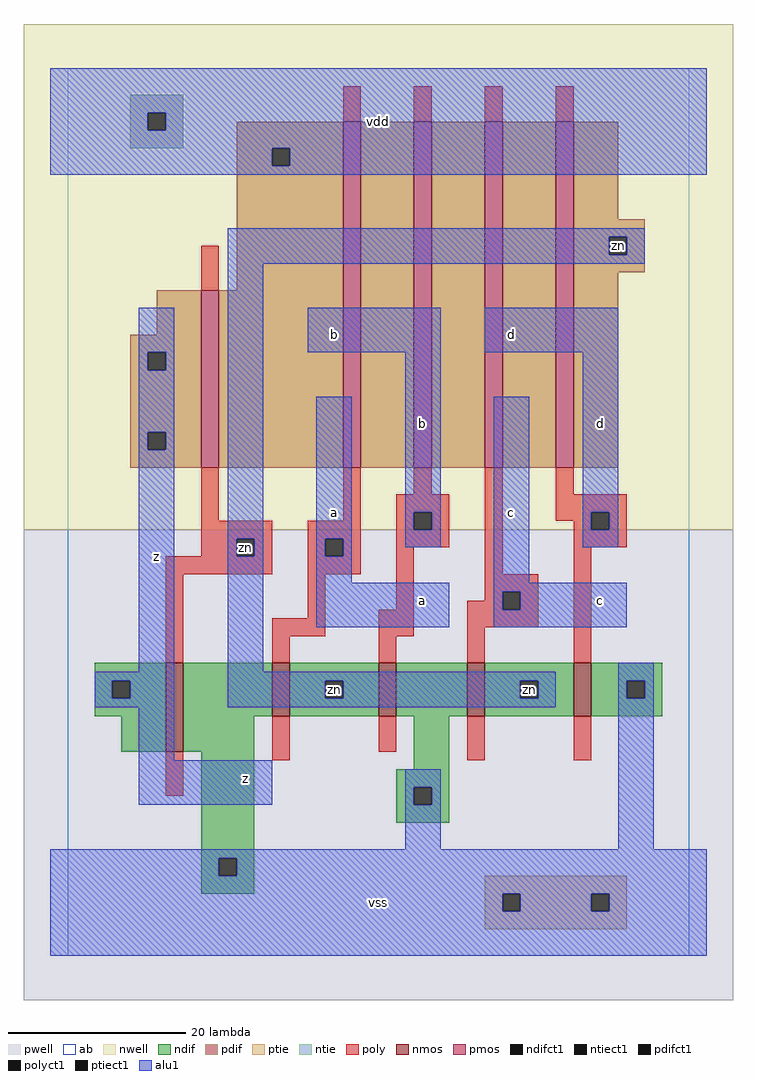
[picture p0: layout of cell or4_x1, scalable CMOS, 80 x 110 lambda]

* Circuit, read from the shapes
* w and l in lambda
.subckt or4_x1 a b c d vdd vss z zn
M1 vss zn z vss nfet w=10 l=2
M2 zn a vss vss nfet w=6 l=2
M3 vss b zn vss nfet w=6 l=2
M4 zn c vss vss nfet w=6 l=2
M5 vss d zn vss nfet w=6 l=2
M6 vdd zn z vdd pfet w=20 l=2
M7 n1 a vdd vdd pfet w=39 l=2
M8 n2 b n1 vdd pfet w=39 l=2
M9 n3 c n2 vdd pfet w=39 l=2
M10 zn d n3 vdd pfet w=39 l=2
.ends

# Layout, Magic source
magic
tech scmos
<< ab >>
rect 0 0 70 100
<< nwell >>
rect -5 48 75 105
<< pwell >>
rect -5 -5 75 48
<< poly >>
rect 31 94 33 98
rect 39 94 41 98
rect 47 94 49 98
rect 55 94 57 98
rect 15 75 17 80
rect 15 49 17 55
rect 31 49 33 55
rect 39 52 41 55
rect 15 47 23 49
rect 15 45 19 47
rect 21 45 23 47
rect 11 43 23 45
rect 27 47 33 49
rect 27 45 29 47
rect 31 45 33 47
rect 27 43 33 45
rect 37 50 43 52
rect 37 48 39 50
rect 41 48 43 50
rect 37 46 43 48
rect 11 33 13 43
rect 27 38 29 43
rect 37 39 39 46
rect 47 43 49 55
rect 55 52 57 55
rect 55 50 63 52
rect 55 49 59 50
rect 57 48 59 49
rect 61 48 63 50
rect 57 46 63 48
rect 47 41 53 43
rect 47 40 49 41
rect 23 36 29 38
rect 35 36 39 39
rect 45 39 49 40
rect 51 39 53 41
rect 45 37 53 39
rect 23 33 25 36
rect 35 33 37 36
rect 45 33 47 37
rect 57 33 59 46
rect 11 18 13 23
rect 23 22 25 27
rect 35 23 37 27
rect 45 22 47 27
rect 57 22 59 27
<< ndif >>
rect 3 31 11 33
rect 3 29 5 31
rect 7 29 11 31
rect 3 27 11 29
rect 6 23 11 27
rect 13 27 23 33
rect 25 31 35 33
rect 25 29 29 31
rect 31 29 35 31
rect 25 27 35 29
rect 37 27 45 33
rect 47 31 57 33
rect 47 29 51 31
rect 53 29 57 31
rect 47 27 57 29
rect 59 31 67 33
rect 59 29 63 31
rect 65 29 67 31
rect 59 27 67 29
rect 13 23 21 27
rect 15 11 21 23
rect 39 21 43 27
rect 37 19 43 21
rect 37 17 39 19
rect 41 17 43 19
rect 37 15 43 17
rect 15 9 17 11
rect 19 9 21 11
rect 15 7 21 9
<< pdif >>
rect 19 91 31 94
rect 19 89 23 91
rect 25 89 31 91
rect 19 75 31 89
rect 10 70 15 75
rect 7 68 15 70
rect 7 66 9 68
rect 11 66 15 68
rect 7 59 15 66
rect 7 57 9 59
rect 11 57 15 59
rect 7 55 15 57
rect 17 55 31 75
rect 33 55 39 94
rect 41 55 47 94
rect 49 55 55 94
rect 57 83 62 94
rect 57 81 65 83
rect 57 79 61 81
rect 63 79 65 81
rect 57 77 65 79
rect 57 55 62 77
<< alu1 >>
rect -2 95 72 100
rect -2 93 9 95
rect 11 93 72 95
rect -2 91 72 93
rect -2 89 23 91
rect 25 89 72 91
rect -2 88 72 89
rect 18 81 65 82
rect 18 79 61 81
rect 63 79 65 81
rect 18 78 65 79
rect 8 68 12 73
rect 8 66 9 68
rect 11 66 12 68
rect 8 59 12 66
rect 8 57 9 59
rect 11 57 12 59
rect 8 32 12 57
rect 3 31 12 32
rect 3 29 5 31
rect 7 29 12 31
rect 3 28 12 29
rect 18 47 22 78
rect 27 68 42 73
rect 47 68 62 73
rect 18 45 19 47
rect 21 45 22 47
rect 18 32 22 45
rect 28 47 32 63
rect 28 45 29 47
rect 31 45 32 47
rect 38 50 42 68
rect 38 48 39 50
rect 41 48 42 50
rect 38 46 42 48
rect 28 42 32 45
rect 48 42 52 63
rect 58 50 62 68
rect 58 48 59 50
rect 61 48 62 50
rect 58 46 62 48
rect 28 37 43 42
rect 48 41 63 42
rect 48 39 49 41
rect 51 39 63 41
rect 48 37 63 39
rect 18 31 55 32
rect 18 29 29 31
rect 31 29 51 31
rect 53 29 55 31
rect 18 28 55 29
rect 62 31 66 33
rect 62 29 63 31
rect 65 29 66 31
rect 8 22 12 28
rect 8 17 23 22
rect 38 19 42 21
rect 38 17 39 19
rect 41 17 42 19
rect 38 12 42 17
rect 62 12 66 29
rect -2 11 72 12
rect -2 9 17 11
rect 19 9 72 11
rect -2 7 72 9
rect -2 5 49 7
rect 51 5 59 7
rect 61 5 72 7
rect -2 0 72 5
<< ptie >>
rect 47 7 63 9
rect 47 5 49 7
rect 51 5 59 7
rect 61 5 63 7
rect 47 3 63 5
<< ntie >>
rect 7 95 13 97
rect 7 93 9 95
rect 11 93 13 95
rect 7 91 13 93
<< nmos >>
rect 11 23 13 33
rect 23 27 25 33
rect 35 27 37 33
rect 45 27 47 33
rect 57 27 59 33
<< pmos >>
rect 15 55 17 75
rect 31 55 33 94
rect 39 55 41 94
rect 47 55 49 94
rect 55 55 57 94
<< polyct1 >>
rect 19 45 21 47
rect 29 45 31 47
rect 39 48 41 50
rect 59 48 61 50
rect 49 39 51 41
<< ndifct1 >>
rect 5 29 7 31
rect 29 29 31 31
rect 51 29 53 31
rect 63 29 65 31
rect 39 17 41 19
rect 17 9 19 11
<< ntiect1 >>
rect 9 93 11 95
<< ptiect1 >>
rect 49 5 51 7
rect 59 5 61 7
<< pdifct1 >>
rect 23 89 25 91
rect 9 66 11 68
rect 9 57 11 59
rect 61 79 63 81
<< labels >>
rlabel polyct1 20 46 20 46 6 zn
rlabel ndifct1 30 30 30 30 6 zn
rlabel ndifct1 52 30 52 30 6 zn
rlabel pdifct1 62 80 62 80 6 zn
rlabel alu1 10 45 10 45 6 z
rlabel alu1 20 20 20 20 6 z
rlabel alu1 30 50 30 50 6 a
rlabel alu1 30 70 30 70 6 b
rlabel alu1 35 6 35 6 6 vss
rlabel alu1 40 40 40 40 6 a
rlabel alu1 50 50 50 50 6 c
rlabel alu1 50 70 50 70 6 d
rlabel alu1 40 60 40 60 6 b
rlabel alu1 35 94 35 94 6 vdd
rlabel alu1 60 40 60 40 6 c
rlabel alu1 60 60 60 60 6 d
<< end >>
